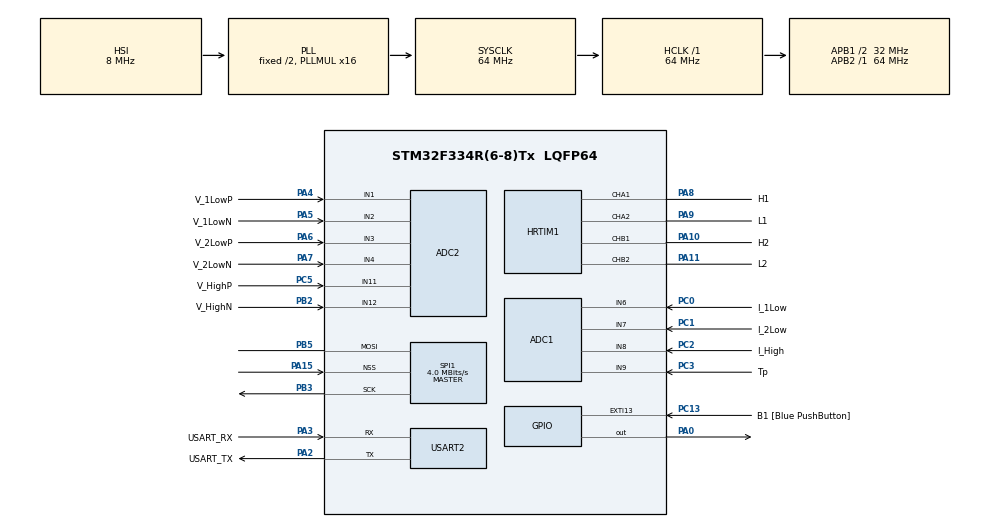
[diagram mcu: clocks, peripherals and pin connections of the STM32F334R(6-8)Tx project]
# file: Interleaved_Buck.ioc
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ADC1.Channel-0\#ChannelRegularConversion=ADC_CHANNEL_6
ADC1.Channel-1\#ChannelRegularConversion=ADC_CHANNEL_7
ADC1.Channel-2\#ChannelRegularConversion=ADC_CHANNEL_8
ADC1.Channel-3\#ChannelRegularConversion=ADC_CHANNEL_9
ADC1.NbrOfConversion=4
ADC1.NbrOfConversionFlag=1
ADC1.Offset-0\#ChannelRegularConversion=0
ADC1.Offset-1\#ChannelRegularConversion=0
ADC1.Offset-2\#ChannelRegularConversion=0
ADC1.Offset-3\#ChannelRegularConversion=0
ADC1.OffsetNumber-0\#ChannelRegularConversion=ADC_OFFSET_NONE
ADC1.OffsetNumber-1\#ChannelRegularConversion=ADC_OFFSET_NONE
ADC1.OffsetNumber-2\#ChannelRegularConversion=ADC_OFFSET_NONE
ADC1.OffsetNumber-3\#ChannelRegularConversion=ADC_OFFSET_NONE
ADC1.Rank-0\#ChannelRegularConversion=1
ADC1.Rank-1\#ChannelRegularConversion=2
ADC1.Rank-2\#ChannelRegularConversion=3
ADC1.Rank-3\#ChannelRegularConversion=4
ADC1.SamplingTime-0\#ChannelRegularConversion=ADC_SAMPLETIME_1CYCLE_5
ADC1.SamplingTime-1\#ChannelRegularConversion=ADC_SAMPLETIME_1CYCLE_5
ADC1.SamplingTime-2\#ChannelRegularConversion=ADC_SAMPLETIME_1CYCLE_5
ADC1.SamplingTime-3\#ChannelRegularConversion=ADC_SAMPLETIME_1CYCLE_5
ADC1.SamplingTimeOPAMP-1\#ChannelRegularConversion=ADC_SAMPLETIME_61CYCLES_5
ADC1.SamplingTimeOPAMP-2\#ChannelRegularConversion=ADC_SAMPLETIME_61CYCLES_5
ADC1.SamplingTimeOPAMP-3\#ChannelRegularConversion=ADC_SAMPLETIME_61CYCLES_5
ADC1.SubFamily=STM32F334x8
ADC1.master=1
ADC2.Channel-0\#ChannelRegularConversion=ADC_CHANNEL_1
ADC2.Channel-1\#ChannelRegularConversion=ADC_CHANNEL_3
ADC2.Channel-2\#ChannelRegularConversion=ADC_CHANNEL_11
ADC2.NbrOfConversion=3
ADC2.NbrOfConversionFlag=1
ADC2.Offset-0\#ChannelRegularConversion=0
ADC2.Offset-1\#ChannelRegularConversion=0
ADC2.Offset-2\#ChannelRegularConversion=0
ADC2.OffsetNumber-0\#ChannelRegularConversion=ADC_OFFSET_NONE
ADC2.OffsetNumber-1\#ChannelRegularConversion=ADC_OFFSET_NONE
ADC2.OffsetNumber-2\#ChannelRegularConversion=ADC_OFFSET_NONE
ADC2.Rank-0\#ChannelRegularConversion=1
ADC2.Rank-1\#ChannelRegularConversion=2
ADC2.Rank-2\#ChannelRegularConversion=3
ADC2.SamplingTime-0\#ChannelRegularConversion=ADC_SAMPLETIME_1CYCLE_5
ADC2.SamplingTime-1\#ChannelRegularConversion=ADC_SAMPLETIME_1CYCLE_5
ADC2.SamplingTime-2\#ChannelRegularConversion=ADC_SAMPLETIME_1CYCLE_5
ADC2.SamplingTimeOPAMP-1\#ChannelRegularConversion=ADC_SAMPLETIME_61CYCLES_5
ADC2.SamplingTimeOPAMP-2\#ChannelRegularConversion=ADC_SAMPLETIME_61CYCLES_5
ADC2.SingleDiff-0\#ChannelRegularConversion=ADC_DIFFERENTIAL_ENDED
ADC2.SingleDiff-1\#ChannelRegularConversion=ADC_DIFFERENTIAL_ENDED
ADC2.SingleDiff-2\#ChannelRegularConversion=ADC_DIFFERENTIAL_ENDED
ADC2.SubFamily=STM32F334x8
Dma.ADC1.0.Direction=DMA_PERIPH_TO_MEMORY
Dma.ADC1.0.Instance=DMA1_Channel1
Dma.ADC1.0.MemDataAlignment=DMA_MDATAALIGN_WORD
Dma.ADC1.0.MemInc=DMA_MINC_ENABLE
Dma.ADC1.0.Mode=DMA_CIRCULAR
Dma.ADC1.0.PeriphDataAlignment=DMA_PDATAALIGN_WORD
Dma.ADC1.0.PeriphInc=DMA_PINC_DISABLE
Dma.ADC1.0.Priority=DMA_PRIORITY_LOW
Dma.ADC2.1.Direction=DMA_PERIPH_TO_MEMORY
Dma.ADC2.1.Instance=DMA1_Channel2
Dma.ADC2.1.MemDataAlignment=DMA_MDATAALIGN_WORD
Dma.ADC2.1.MemInc=DMA_MINC_ENABLE
Dma.ADC2.1.Mode=DMA_CIRCULAR
Dma.ADC2.1.PeriphDataAlignment=DMA_PDATAALIGN_WORD
Dma.ADC2.1.PeriphInc=DMA_PINC_DISABLE
Dma.ADC2.1.Priority=DMA_PRIORITY_LOW
Dma.Request0=ADC1
Dma.Request1=ADC2
HRTIM1.CompareUnit1-MasterTimer=__NULL
HRTIM1.CompareUnit1-Output_TA1TA2=HRTIM_COMPAREUNIT_1
HRTIM1.CompareUnit1-Output_TB1TB2=HRTIM_COMPAREUNIT_1
HRTIM1.CompareUnit2-MasterTimer=HRTIM_COMPAREUNIT_2
HRTIM1.CompareUnit2-Output_TB1TB2=__NULL
HRTIM1.CompareUnit3-MasterTimer=__NULL
HRTIM1.CompareUnit3-Output_TB1TB2=__NULL
HRTIM1.CompareValue1-MasterTimer=80
HRTIM1.CompareValue1-Output_TA1TA2=dutyA
HRTIM1.CompareValue1-Output_TB1TB2=80
HRTIM1.CompareValue2-MasterTimer=160
HRTIM1.CompareValue2-Output_TB1TB2=80
HRTIM1.CompareValue3-MasterTimer=240
HRTIM1.CompareValue3-Output_TB1TB2=240
HRTIM1.Configuration_TB=Waveform
HRTIM1.DMADstAddress-Output_TA1TA2=0x0
HRTIM1.DMADstAddress-Output_TB1TB2=0x0
HRTIM1.DMARequests1-Output_TA1TA2=HRTIM_TIM_DMA_NONE
HRTIM1.DMARequests1-Output_TB1TB2=HRTIM_TIM_DMA_NONE
HRTIM1.DMASrcAddress-Output_TA1TA2=0x0
HRTIM1.DMASrcAddress-Output_TB1TB2=0x0
HRTIM1.DeadTimeInsertion-Output_TA1TA2=HRTIM_TIMDEADTIMEINSERTION_ENABLED
HRTIM1.DeadTimeInsertion-Output_TB1TB2=HRTIM_TIMDEADTIMEINSERTION_ENABLED
HRTIM1.Deadtimeconfig-Output_TA1TA2=HRTIM_TIMERINDEX_TIMER_A
HRTIM1.Deadtimeconfig-Output_TB1TB2=HRTIM_TIMERINDEX_TIMER_B
HRTIM1.FallingValue-Output_TA1TA2=10
HRTIM1.FallingValue-Output_TB1TB2=10
HRTIM1.NumberDMARequests_TA=0
HRTIM1.NumberDMARequests_TB=0
HRTIM1.NumberResetSource1-Output_TA1TA2=1
HRTIM1.NumberResetSource1-Output_TB1TB2=1
HRTIM1.NumberResetSource2_TA=1
HRTIM1.NumberResetSource2_TB=1
HRTIM1.NumberResetTrigger-Output_TA1TA2=1
HRTIM1.NumberResetTrigger-Output_TB1TB2=1
HRTIM1.NumberSetSource1-Output_TA1TA2=1
HRTIM1.NumberSetSource1-Output_TB1TB2=1
HRTIM1.NumberSetSource2_TA=0
HRTIM1.NumberSetSource2_TB=0
HRTIM1.NumberUpdateTrigger-Output_TA1TA2=0
HRTIM1.NumberUpdateTrigger-Output_TB1TB2=0
HRTIM1.Periode_MASTER=320
HRTIM1.Periode_TA=320
HRTIM1.Periode_TB=320
HRTIM1.Polarity2-Output_TA1TA2=HRTIM_OUTPUTPOLARITY_HIGH
HRTIM1.Polarity2-Output_TB1TB2=HRTIM_OUTPUTPOLARITY_HIGH
HRTIM1.PreloadEnable-Output_TA1TA2=HRTIM_PRELOAD_ENABLED
HRTIM1.PreloadEnable-Output_TB1TB2=HRTIM_PRELOAD_ENABLED
HRTIM1.PushPull-Output_TA1TA2=HRTIM_TIMPUSHPULLMODE_DISABLED
HRTIM1.PushPull-Output_TB1TB2=HRTIM_TIMPUSHPULLMODE_DISABLED
HRTIM1.RepetitionUpdate-Output_TA1TA2=HRTIM_UPDATEONREPETITION_ENABLED
HRTIM1.RepetitionUpdate-Output_TB1TB2=HRTIM_UPDATEONREPETITION_ENABLED
HRTIM1.ResetOutput1_Source1-Output_TA1TA2=HRTIM_OUTPUTRESET_TIMPER
HRTIM1.ResetOutput1_Source1-Output_TB1TB2=HRTIM_OUTPUTRESET_TIMPER
HRTIM1.ResetOutput2_Source1-Output_TA1TA2=HRTIM_OUTPUTRESET_TIMCMP1
HRTIM1.ResetOutput2_Source1-Output_TB1TB2=HRTIM_OUTPUTRESET_TIMCMP1
HRTIM1.ResetTrigger1-Output_TA1TA2=HRTIM_TIMRESETTRIGGER_MASTER_PER
HRTIM1.ResetTrigger1-Output_TB1TB2=HRTIM_TIMRESETTRIGGER_MASTER_CMP2
HRTIM1.RisingValue-Output_TA1TA2=10
HRTIM1.RisingValue-Output_TB1TB2=10
HRTIM1.SetOutput1_Source1-Output_TA1TA2=HRTIM_OUTPUTSET_TIMCMP1
HRTIM1.SetOutput1_Source1-Output_TB1TB2=HRTIM_OUTPUTSET_TIMCMP1
HRTIM1.SetOutput2_Source1-Output_TA1TA2=HRTIM_OUTPUTSET_TIMPER
HRTIM1.SetOutput2_Source1-Output_TB1TB2=HRTIM_OUTPUTSET_TIMPER
HRTIM1.StartOnSync-MasterTimer=HRTIM_SYNCSTART_DISABLED
HRTIM1.StartOnSync-Output_TA1TA2=HRTIM_SYNCSTART_DISABLED
HRTIM1.SyncOptions=HRTIM_SYNCOPTION_NONE
HRTIM1.UpdateTrigger1-Output_TA1TA2=HRTIM_TIMUPDATETRIGGER_NONE
HRTIM1.UpdateTrigger1-Output_TB1TB2=HRTIM_TIMUPDATETRIGGER_NONE
Mcu.Family=STM32F3
Mcu.Name=STM32F334R(6-8)Tx
Mcu.Package=LQFP64
NVIC.DMA1_Channel1_IRQn=true\:0\:0\:false\:false\:true\:false\:true
NVIC.DMA1_Channel2_IRQn=true\:0\:0\:false\:false\:true\:false\:true
NVIC.PriorityGroup=NVIC_PRIORITYGROUP_0
PA0.Signal=GPIO_Output
PA10.GPIO_Label=H2
PA10.Mode=Output_TB1TB2
PA10.Signal=HRTIM1_CHB1
PA11.GPIO_Label=L2
PA11.Mode=Output_TB1TB2
PA11.Signal=HRTIM1_CHB2
PA13.GPIO_Label=TMS
PA13.Mode=Serial_Wire
PA13.Signal=SYS_JTMS-SWDIO
PA14.GPIO_Label=TCK
PA14.Mode=Serial_Wire
PA14.Signal=SYS_JTCK-SWCLK
PA15.Mode=NSS_Signal_Hard_Input
PA15.Signal=SPI1_NSS
PA2.GPIO_Label=USART_TX
PA2.Mode=Asynchronous
PA2.Signal=USART2_TX
PA3.GPIO_Label=USART_RX
PA3.Mode=Asynchronous
PA3.Signal=USART2_RX
PA4.GPIO_Label=V_1LowP
PA4.Mode=IN1-Differential
PA4.Signal=ADC2_IN1
PA5.GPIO_Label=V_1LowN
PA5.Mode=IN1-Differential
PA5.Signal=ADC2_IN2
PA6.GPIO_Label=V_2LowP
PA6.Mode=IN3-Differential
PA6.Signal=ADC2_IN3
PA7.GPIO_Label=V_2LowN
PA7.Mode=IN3-Differential
PA7.Signal=ADC2_IN4
PA8.GPIO_Label=H1
PA8.Mode=Output_TA1TA2
PA8.Signal=HRTIM1_CHA1
PA9.GPIO_Label=L1
PA9.Mode=Output_TA1TA2
PA9.Signal=HRTIM1_CHA2
PB2.GPIO_Label=V_HighN
PB2.Mode=IN11-Differential
PB2.Signal=ADC2_IN12
PB3.Mode=Simplex_Bidirectional_Master
PB3.Signal=SPI1_SCK
PB5.Mode=Simplex_Bidirectional_Master
PB5.Signal=SPI1_MOSI
PC0.GPIO_Label=I_1Low
PC0.Signal=ADCx_IN6
PC1.GPIO_Label=I_2Low
PC1.Signal=ADCx_IN7
PC13.GPIO_Label=B1 [Blue PushButton]
PC13.GPIO_ModeDefaultEXTI=GPIO_MODE_IT_FALLING
PC13.Signal=GPXTI13
PC14\ /\ OSC32_IN.Mode=LSE-External-Oscillator
PC14\ /\ OSC32_IN.Signal=RCC_OSC32_IN
PC15\ /\ OSC32_OUT.GPIO_Label=RCC_OSC32_OUT
PC15\ /\ OSC32_OUT.Mode=LSE-External-Oscillator
PC15\ /\ OSC32_OUT.Signal=RCC_OSC32_OUT
PC2.GPIO_Label=I_High
PC2.Signal=ADCx_IN8
PC3.GPIO_Label=Tp
PC3.Signal=ADCx_IN9
PC5.GPIO_Label=V_HighP
PC5.Mode=IN11-Differential
PC5.Signal=ADC2_IN11
PF0\ /\ OSC_IN.Mode=HSE-External-Clock-Source
PF0\ /\ OSC_IN.Signal=RCC_OSC_IN
PF1\ /\ OSC_OUT.Signal=RCC_OSC_OUT
ProjectManager.HeapSize=0x200
ProjectManager.StackSize=0x400
ProjectManager.TargetToolchain=STM32CubeIDE
RCC.AHBFreq_Value=64000000
RCC.APB1CLKDivider=RCC_HCLK_DIV2
RCC.APB1Freq_Value=32000000
RCC.APB1TimFreq_Value=64000000
RCC.APB2Freq_Value=64000000
RCC.APB2TimFreq_Value=64000000
RCC.CortexFreq_Value=64000000
RCC.FLatency-AdvancedSettings=FLASH_LATENCY_2
RCC.HCLKFreq_Value=64000000
RCC.HSE_VALUE=8000000
RCC.HSI_VALUE=8000000
RCC.PLLMUL=RCC_PLL_MUL16
RCC.SYSCLKFreq_VALUE=64000000
RCC.SYSCLKSourceVirtual=RCC_SYSCLKSOURCE_PLLCLK
SH.ADCx_IN6.0=ADC1_IN6,IN6-Single-Ended
SH.ADCx_IN7.0=ADC1_IN7,IN7-Single-Ended
SH.ADCx_IN8.0=ADC1_IN8,IN8-Single-Ended
SH.ADCx_IN9.0=ADC1_IN9,IN9-Single-Ended
SPI1.BaudRatePrescaler=SPI_BAUDRATEPRESCALER_16
SPI1.CalculateBaudRate=4.0 MBits/s
SPI1.Direction=SPI_DIRECTION_1LINE
SPI1.Mode=SPI_MODE_MASTER
SPI1.VirtualNSS=VM_NSSHARD
SPI1.VirtualType=VM_MASTER
USART2.VirtualMode-Asynchronous=VM_ASYNC
VP_HRTIM1_VS_hrtimMasterTimerNoOutput.Mode=MasterTimer
board=NUCLEO-F334R8

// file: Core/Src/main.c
/* USER CODE BEGIN Header */
/**
  ******************************************************************************
  * @file           : main.c
  * @brief          : Main program body
  ******************************************************************************
  * @attention
  *
  * <h2><center>&copy; Copyright (c) 2020 STMicroelectronics.
  * All rights reserved.</center></h2>
  *
  * This software component is licensed by ST under BSD 3-Clause license,
  * the "License"; You may not use this file except in compliance with the
  * License. You may obtain a copy of the License at:
  *                        opensource.org/licenses/BSD-3-Clause
  *
  ******************************************************************************
  */
#define ARM_MATH_CM4

/* USER CODE END Header */
#include "main.h"

/* USER CODE BEGIN Includes */
#include "arm_math.h"

/* USER CODE END Includes */

/* USER CODE BEGIN PTD */
typedef struct {
	float32_t I1_Low;
	float32_t I2_Low;
	float32_t I_High;
	float32_t Tp;
} ADC_SingleEnded;

typedef struct {
	float32_t gain_I1;
	float32_t gain_I2;
	float32_t gain_IHigh;
	float32_t gain_Tp;
} gain_ADC1;

typedef struct {
	float32_t V1_Low;
	float32_t V2_Low;
	float32_t V_High;
} ADC_Differential;

typedef struct {
	float32_t gain_V1;
	float32_t gain_V2;
	float32_t gain_VHigh;
} gain_ADC2;

/* USER CODE END PTD */

/* USER CODE BEGIN PD */
#define GAIN_CURRENT_SENSOR  0.0009766       //  [(raw_value/4096)*3.3V * (40A/3.3V)] * 1.000.000
#define GAIN_AC_VOLTAGE  515625
#define GAIN_DC_VOLTAGE	 96680
// #define GAIN_TP =
#define DIVIDE1M 1000000
#define PWM_RESOLUTION 320
#define LOW_DUTY 32
#define HIGH_DUTY 288
/* USER CODE END PD */

ADC_HandleTypeDef hadc1;
ADC_HandleTypeDef hadc2;
DMA_HandleTypeDef hdma_adc1;
DMA_HandleTypeDef hdma_adc2;

HRTIM_HandleTypeDef hhrtim1;

SPI_HandleTypeDef hspi1;

UART_HandleTypeDef huart2;

/* USER CODE BEGIN PV */
float32_t ref = 15;
float32_t error_pid;
float32_t rslt_pid;
float32_t Kpgain = -0.00000235;		//PID Gains are determined through a simulink simulation of the system.
float32_t Kigain = -0.117;
float32_t Kdgain = 0;
uint32_t valuesADC1[4];
float32_t convertADC1[4];
uint32_t valuesADC2[3];
float32_t convertADC2[3];
float32_t raw_offsetADC1[4];
float32_t raw_offsetADC2[3];
arm_pid_instance_f32 PID_test;
float32_t ValuesADC1[4];
float32_t ValuesADC2[3];
float32_t GainADC1[4];
float32_t GainADC2[3];
float32_t offsetADC1[4] = {1460, 1650, 1700, 0};
float32_t offsetADC2[3] = {1990, 1980, 1980};
uint16_t duty= 80;
float32_t pwm=32;

/* USER CODE END PV */

void SystemClock_Config(void);
static void MX_GPIO_Init(void);
static void MX_DMA_Init(void);
static void MX_USART2_UART_Init(void);
static void MX_ADC1_Init(void);
static void MX_ADC2_Init(void);
static void MX_HRTIM1_Init(void);
static void MX_SPI1_Init(void);

int main(void)
{

  /* MCU Configuration--------------------------------------------------------*/

  /* Reset of all peripherals, Initializes the Flash interface and the Systick. */
  HAL_Init();

  /* Configure the system clock */
  SystemClock_Config();

  /* Initialize all configured peripherals */
  MX_GPIO_Init();
  MX_DMA_Init();
  MX_USART2_UART_Init();
  MX_ADC1_Init();
  MX_ADC2_Init();
  MX_HRTIM1_Init();
  MX_SPI1_Init();
  /* USER CODE BEGIN 2 */

  GainADC1[0] =0.009766;
  GainADC1[1] =0.009766;
  GainADC1[2] =-0.009766*2.794;
  GainADC1[3] =0.1*0.543;

  GainADC2[0] =-0.05156*1.2931;
  GainADC2[1] =-0.05156*1.2931;		//1.2931 is the experimental gain multiplier found during calibration. Theoritical values must be checked.
  GainADC2[2] =0.09668;

  PID_test.Kp=Kpgain;
  PID_test.Ki=Kigain;
  PID_test.Kd=Kdgain;
  arm_pid_init_f32(&PID_test,1);
  HAL_HRTIM_WaveformCountStart(&hhrtim1 , HRTIM_TIMERID_MASTER | HRTIM_TIMERID_TIMER_A | HRTIM_TIMERID_TIMER_B); //Launch simultaneously HRTIM Master timer, Timer A, and Timer B
  HAL_HRTIM_WaveformOutputStart(&hhrtim1 , HRTIM_OUTPUT_TA1 | HRTIM_OUTPUT_TA2 | HRTIM_OUTPUT_TB1 | HRTIM_OUTPUT_TB2); //Once timers launched, output are released simultaneously.
  HAL_HRTIM_UpdateEnable(&hhrtim1, HRTIM_TIMERUPDATE_A | HRTIM_TIMERUPDATE_B);
  HAL_GPIO_TogglePin(GPIOA, GPIO_PIN_0);  			//IMPORTANT GROUND TO NEUTRAL CONNECTION MUST BE ENABLED IN DCDC BUCK MODE !

  /* USER CODE END 2 */

  /* Infinite loop */
  /* USER CODE BEGIN WHILE */
  while (1)
  {
	  HAL_ADC_Start_DMA(&hadc1, valuesADC1, 4);
	  HAL_ADC_Stop_DMA(&hadc1);
	  HAL_ADC_Start_DMA(&hadc2, valuesADC2, 3);
	  HAL_ADC_Stop_DMA(&hadc2);
	  convertADC1[0] = (float32_t)valuesADC1[0];
	  convertADC1[1] = (float32_t)valuesADC1[1];
	  convertADC1[2] = (float32_t)valuesADC1[2];
	  convertADC1[3] = (float32_t)valuesADC1[3];
	  convertADC2[0] = (float32_t)valuesADC2[0];
	  convertADC2[1] = (float32_t)valuesADC2[1];
	  convertADC2[2] = (float32_t)valuesADC2[2];
	  arm_sub_f32(convertADC1, offsetADC1, raw_offsetADC1, 4);
	  arm_sub_f32(convertADC2, offsetADC2, raw_offsetADC2, 3);
	  arm_mult_f32(raw_offsetADC1, GainADC1, ValuesADC1, 4);
	  arm_mult_f32(raw_offsetADC2, GainADC2, ValuesADC2, 3);
	  arm_sub_f32(&ref, &ValuesADC2[0], &error_pid,1);			//CALCULATING THE ERROR BASED ON THE REFERENCE
	  rslt_pid = arm_pid_f32(&PID_test, 0.01*error_pid);		//PID CALCULATIONS
	  pwm = PWM_RESOLUTION*rslt_pid;							//PID OUTPUT CONDITIONNING

	  if (pwm > HIGH_DUTY)										//SATURATION CONDITIONS TO AVOID DIVERGENCE.
	  {
		  duty = HIGH_DUTY;
		  __HAL_HRTIM_SETCOMPARE(&hhrtim1, 0X0, HRTIM_COMPAREUNIT_1, duty);
		  __HAL_HRTIM_SETCOMPARE(&hhrtim1, 0X1, HRTIM_COMPAREUNIT_1, duty);
	  }
	  else if (pwm < LOW_DUTY)
	  {
		  duty = LOW_DUTY;
		  __HAL_HRTIM_SETCOMPARE(&hhrtim1, 0X0, HRTIM_COMPAREUNIT_1, duty);
		  __HAL_HRTIM_SETCOMPARE(&hhrtim1, 0X1, HRTIM_COMPAREUNIT_1, duty);
	  }
	  else
	  {
		  duty = (uint16_t)pwm;
		  __HAL_HRTIM_SETCOMPARE(&hhrtim1, 0X0, HRTIM_COMPAREUNIT_1, duty);
		  __HAL_HRTIM_SETCOMPARE(&hhrtim1, 0X1, HRTIM_COMPAREUNIT_1, duty);
	  }

//	HAL_HRTIM_SoftwareUpdate(&hhrtim1, HRTIM_TIMERUPDATE_A | HRTIM_TIMERUPDATE_B);

    /* USER CODE END WHILE */

  }
}

void SystemClock_Config(void)
{
  RCC_OscInitTypeDef RCC_OscInitStruct = {0};
  RCC_ClkInitTypeDef RCC_ClkInitStruct = {0};
  RCC_PeriphCLKInitTypeDef PeriphClkInit = {0};

  /** Initializes the RCC Oscillators according to the specified parameters
  * in the RCC_OscInitTypeDef structure.
  */
  RCC_OscInitStruct.OscillatorType = RCC_OSCILLATORTYPE_HSI;
  RCC_OscInitStruct.HSIState = RCC_HSI_ON;
  RCC_OscInitStruct.HSICalibrationValue = RCC_HSICALIBRATION_DEFAULT;
  RCC_OscInitStruct.PLL.PLLState = RCC_PLL_ON;
  RCC_OscInitStruct.PLL.PLLSource = RCC_PLLSOURCE_HSI;
  RCC_OscInitStruct.PLL.PLLMUL = RCC_PLL_MUL16;
  if (HAL_RCC_OscConfig(&RCC_OscInitStruct) != HAL_OK)
  {
    Error_Handler();
  }
  /** Initializes the CPU, AHB and APB buses clocks
  */
  RCC_ClkInitStruct.ClockType = RCC_CLOCKTYPE_HCLK|RCC_CLOCKTYPE_SYSCLK
                              |RCC_CLOCKTYPE_PCLK1|RCC_CLOCKTYPE_PCLK2;
  RCC_ClkInitStruct.SYSCLKSource = RCC_SYSCLKSOURCE_PLLCLK;
  RCC_ClkInitStruct.AHBCLKDivider = RCC_SYSCLK_DIV1;
  RCC_ClkInitStruct.APB1CLKDivider = RCC_HCLK_DIV2;
  RCC_ClkInitStruct.APB2CLKDivider = RCC_HCLK_DIV1;

  if (HAL_RCC_ClockConfig(&RCC_ClkInitStruct, FLASH_LATENCY_2) != HAL_OK)
  {
    Error_Handler();
  }
  PeriphClkInit.PeriphClockSelection = RCC_PERIPHCLK_HRTIM1|RCC_PERIPHCLK_ADC12;
  PeriphClkInit.Adc12ClockSelection = RCC_ADC12PLLCLK_DIV1;
  PeriphClkInit.Hrtim1ClockSelection = RCC_HRTIM1CLK_HCLK;
  if (HAL_RCCEx_PeriphCLKConfig(&PeriphClkInit) != HAL_OK)
  {
    Error_Handler();
  }
}

static void MX_ADC1_Init(void)
{

  ADC_MultiModeTypeDef multimode = {0};
  ADC_ChannelConfTypeDef sConfig = {0};

  /** Common config
  */
  hadc1.Instance = ADC1;
  hadc1.Init.ClockPrescaler = ADC_CLOCK_ASYNC_DIV1;
  hadc1.Init.Resolution = ADC_RESOLUTION_12B;
  hadc1.Init.ScanConvMode = ADC_SCAN_ENABLE;
  hadc1.Init.ContinuousConvMode = DISABLE;
  hadc1.Init.DiscontinuousConvMode = DISABLE;
  hadc1.Init.ExternalTrigConvEdge = ADC_EXTERNALTRIGCONVEDGE_NONE;
  hadc1.Init.ExternalTrigConv = ADC_SOFTWARE_START;
  hadc1.Init.DataAlign = ADC_DATAALIGN_RIGHT;
  hadc1.Init.NbrOfConversion = 4;
  hadc1.Init.DMAContinuousRequests = DISABLE;
  hadc1.Init.EOCSelection = ADC_EOC_SINGLE_CONV;
  hadc1.Init.LowPowerAutoWait = DISABLE;
  hadc1.Init.Overrun = ADC_OVR_DATA_OVERWRITTEN;
  if (HAL_ADC_Init(&hadc1) != HAL_OK)
  {
    Error_Handler();
  }
  /** Configure the ADC multi-mode
  */
  multimode.Mode = ADC_MODE_INDEPENDENT;
  if (HAL_ADCEx_MultiModeConfigChannel(&hadc1, &multimode) != HAL_OK)
  {
    Error_Handler();
  }
  /** Configure Regular Channel
  */
  sConfig.Channel = ADC_CHANNEL_6;
  sConfig.Rank = ADC_REGULAR_RANK_1;
  sConfig.SingleDiff = ADC_SINGLE_ENDED;
  sConfig.SamplingTime = ADC_SAMPLETIME_1CYCLE_5;
  sConfig.OffsetNumber = ADC_OFFSET_NONE;
  sConfig.Offset = 0;
  if (HAL_ADC_ConfigChannel(&hadc1, &sConfig) != HAL_OK)
  {
    Error_Handler();
  }
  /** Configure Regular Channel
  */
  sConfig.Channel = ADC_CHANNEL_7;
  sConfig.Rank = ADC_REGULAR_RANK_2;
  if (HAL_ADC_ConfigChannel(&hadc1, &sConfig) != HAL_OK)
  {
    Error_Handler();
  }
  /** Configure Regular Channel
  */
  sConfig.Channel = ADC_CHANNEL_8;
  sConfig.Rank = ADC_REGULAR_RANK_3;
  if (HAL_ADC_ConfigChannel(&hadc1, &sConfig) != HAL_OK)
  {
    Error_Handler();
  }
  /** Configure Regular Channel
  */
  sConfig.Channel = ADC_CHANNEL_9;
  sConfig.Rank = ADC_REGULAR_RANK_4;
  if (HAL_ADC_ConfigChannel(&hadc1, &sConfig) != HAL_OK)
  {
    Error_Handler();
  }

}

static void MX_ADC2_Init(void)
{

  ADC_ChannelConfTypeDef sConfig = {0};

  /** Common config
  */
  hadc2.Instance = ADC2;
  hadc2.Init.ClockPrescaler = ADC_CLOCK_ASYNC_DIV1;
  hadc2.Init.Resolution = ADC_RESOLUTION_12B;
  hadc2.Init.ScanConvMode = ADC_SCAN_ENABLE;
  hadc2.Init.ContinuousConvMode = DISABLE;
  hadc2.Init.DiscontinuousConvMode = DISABLE;
  hadc2.Init.ExternalTrigConvEdge = ADC_EXTERNALTRIGCONVEDGE_NONE;
  hadc2.Init.ExternalTrigConv = ADC_SOFTWARE_START;
  hadc2.Init.DataAlign = ADC_DATAALIGN_RIGHT;
  hadc2.Init.NbrOfConversion = 3;
  hadc2.Init.DMAContinuousRequests = DISABLE;
  hadc2.Init.EOCSelection = ADC_EOC_SINGLE_CONV;
  hadc2.Init.LowPowerAutoWait = DISABLE;
  hadc2.Init.Overrun = ADC_OVR_DATA_OVERWRITTEN;
  if (HAL_ADC_Init(&hadc2) != HAL_OK)
  {
    Error_Handler();
  }
  /** Configure Regular Channel
  */
  sConfig.Channel = ADC_CHANNEL_1;
  sConfig.Rank = ADC_REGULAR_RANK_1;
  sConfig.SingleDiff = ADC_DIFFERENTIAL_ENDED;
  sConfig.SamplingTime = ADC_SAMPLETIME_1CYCLE_5;
  sConfig.OffsetNumber = ADC_OFFSET_NONE;
  sConfig.Offset = 0;
  if (HAL_ADC_ConfigChannel(&hadc2, &sConfig) != HAL_OK)
  {
    Error_Handler();
  }
  /** Configure Regular Channel
  */
  sConfig.Channel = ADC_CHANNEL_3;
  sConfig.Rank = ADC_REGULAR_RANK_2;
  if (HAL_ADC_ConfigChannel(&hadc2, &sConfig) != HAL_OK)
  {
    Error_Handler();
  }
  /** Configure Regular Channel
  */
  sConfig.Channel = ADC_CHANNEL_11;
  sConfig.Rank = ADC_REGULAR_RANK_3;
  if (HAL_ADC_ConfigChannel(&hadc2, &sConfig) != HAL_OK)
  {
    Error_Handler();
  }

}

static void MX_HRTIM1_Init(void)
{

  HRTIM_TimeBaseCfgTypeDef pTimeBaseCfg = {0};
  HRTIM_TimerCfgTypeDef pTimerCfg = {0};
  HRTIM_CompareCfgTypeDef pCompareCfg = {0};
  HRTIM_DeadTimeCfgTypeDef pDeadTimeCfg = {0};
  HRTIM_OutputCfgTypeDef pOutputCfg = {0};

  /* USER CODE BEGIN HRTIM1_Init 1 */

 //Define the duty cycle variable duty must be below comprised between 0 and 320 in the actual configuration.

  /* USER CODE END HRTIM1_Init 1 */
  hhrtim1.Instance = HRTIM1;
  hhrtim1.Init.HRTIMInterruptResquests = HRTIM_IT_NONE;
  hhrtim1.Init.SyncOptions = HRTIM_SYNCOPTION_NONE;
  if (HAL_HRTIM_Init(&hhrtim1) != HAL_OK)
  {
    Error_Handler();
  }
  pTimeBaseCfg.Period = 320;
  pTimeBaseCfg.RepetitionCounter = 0x00;
  pTimeBaseCfg.PrescalerRatio = HRTIM_PRESCALERRATIO_DIV1;
  pTimeBaseCfg.Mode = HRTIM_MODE_CONTINUOUS;
  if (HAL_HRTIM_TimeBaseConfig(&hhrtim1, HRTIM_TIMERINDEX_MASTER, &pTimeBaseCfg) != HAL_OK)
  {
    Error_Handler();
  }
  pTimerCfg.InterruptRequests = HRTIM_MASTER_IT_NONE;
  pTimerCfg.DMARequests = HRTIM_MASTER_DMA_NONE;
  pTimerCfg.DMASrcAddress = 0x0000;
  pTimerCfg.DMADstAddress = 0x0000;
  pTimerCfg.DMASize = 0x1;
  pTimerCfg.HalfModeEnable = HRTIM_HALFMODE_DISABLED;
  pTimerCfg.StartOnSync = HRTIM_SYNCSTART_DISABLED;
  pTimerCfg.ResetOnSync = HRTIM_SYNCRESET_DISABLED;
  pTimerCfg.DACSynchro = HRTIM_DACSYNC_NONE;
  pTimerCfg.PreloadEnable = HRTIM_PRELOAD_DISABLED;
  pTimerCfg.UpdateGating = HRTIM_UPDATEGATING_INDEPENDENT;
  pTimerCfg.BurstMode = HRTIM_TIMERBURSTMODE_MAINTAINCLOCK;
  pTimerCfg.RepetitionUpdate = HRTIM_UPDATEONREPETITION_DISABLED;
  if (HAL_HRTIM_WaveformTimerConfig(&hhrtim1, HRTIM_TIMERINDEX_MASTER, &pTimerCfg) != HAL_OK)
  {
    Error_Handler();
  }
  pCompareCfg.CompareValue = 160;
  if (HAL_HRTIM_WaveformCompareConfig(&hhrtim1, HRTIM_TIMERINDEX_MASTER, HRTIM_COMPAREUNIT_2, &pCompareCfg) != HAL_OK)
  {
    Error_Handler();
  }
  if (HAL_HRTIM_TimeBaseConfig(&hhrtim1, HRTIM_TIMERINDEX_TIMER_A, &pTimeBaseCfg) != HAL_OK)
  {
    Error_Handler();
  }
  pTimerCfg.InterruptRequests = HRTIM_TIM_IT_NONE;
  pTimerCfg.DMARequests = HRTIM_TIM_DMA_NONE;
  pTimerCfg.DMASrcAddress = 0x0;
  pTimerCfg.DMADstAddress = 0x0;
  pTimerCfg.DMASize = 0x1;
  pTimerCfg.PreloadEnable = HRTIM_PRELOAD_ENABLED;
  pTimerCfg.RepetitionUpdate = HRTIM_UPDATEONREPETITION_ENABLED;
  pTimerCfg.PushPull = HRTIM_TIMPUSHPULLMODE_DISABLED;
  pTimerCfg.FaultEnable = HRTIM_TIMFAULTENABLE_NONE;
  pTimerCfg.FaultLock = HRTIM_TIMFAULTLOCK_READWRITE;
  pTimerCfg.DeadTimeInsertion = HRTIM_TIMDEADTIMEINSERTION_ENABLED;
  pTimerCfg.DelayedProtectionMode = HRTIM_TIMER_A_B_C_DELAYEDPROTECTION_DISABLED;
  pTimerCfg.UpdateTrigger = HRTIM_TIMUPDATETRIGGER_NONE;
  pTimerCfg.ResetTrigger = HRTIM_TIMRESETTRIGGER_MASTER_PER;
  pTimerCfg.ResetUpdate = HRTIM_TIMUPDATEONRESET_DISABLED;
  if (HAL_HRTIM_WaveformTimerConfig(&hhrtim1, HRTIM_TIMERINDEX_TIMER_A, &pTimerCfg) != HAL_OK)
  {
    Error_Handler();
  }
  pTimerCfg.DMASrcAddress = 0x0;
  pTimerCfg.DMADstAddress = 0x0;
  pTimerCfg.DMASize = 0x1;
  pTimerCfg.ResetTrigger = HRTIM_TIMRESETTRIGGER_MASTER_CMP2;
  if (HAL_HRTIM_WaveformTimerConfig(&hhrtim1, HRTIM_TIMERINDEX_TIMER_B, &pTimerCfg) != HAL_OK)
  {
    Error_Handler();
  }
  pCompareCfg.CompareValue = duty;
  if (HAL_HRTIM_WaveformCompareConfig(&hhrtim1, HRTIM_TIMERINDEX_TIMER_A, HRTIM_COMPAREUNIT_1, &pCompareCfg) != HAL_OK)
  {
    Error_Handler();
  }
  pDeadTimeCfg.Prescaler = HRTIM_TIMDEADTIME_PRESCALERRATIO_MUL8;
  pDeadTimeCfg.RisingValue = 10;
  pDeadTimeCfg.RisingSign = HRTIM_TIMDEADTIME_RISINGSIGN_POSITIVE;
  pDeadTimeCfg.RisingLock = HRTIM_TIMDEADTIME_RISINGLOCK_WRITE;
  pDeadTimeCfg.RisingSignLock = HRTIM_TIMDEADTIME_RISINGSIGNLOCK_WRITE;
  pDeadTimeCfg.FallingValue = 10;
  pDeadTimeCfg.FallingSign = HRTIM_TIMDEADTIME_FALLINGSIGN_POSITIVE;
  pDeadTimeCfg.FallingLock = HRTIM_TIMDEADTIME_FALLINGLOCK_WRITE;
  pDeadTimeCfg.FallingSignLock = HRTIM_TIMDEADTIME_FALLINGSIGNLOCK_WRITE;
  if (HAL_HRTIM_DeadTimeConfig(&hhrtim1, HRTIM_TIMERINDEX_TIMER_A, &pDeadTimeCfg) != HAL_OK)
  {
    Error_Handler();
  }
  if (HAL_HRTIM_DeadTimeConfig(&hhrtim1, HRTIM_TIMERINDEX_TIMER_B, &pDeadTimeCfg) != HAL_OK)
  {
    Error_Handler();
  }
  pOutputCfg.Polarity = HRTIM_OUTPUTPOLARITY_HIGH;
  pOutputCfg.SetSource = HRTIM_OUTPUTSET_TIMCMP1;
  pOutputCfg.ResetSource = HRTIM_OUTPUTRESET_TIMPER;
  pOutputCfg.IdleMode = HRTIM_OUTPUTIDLEMODE_NONE;
  pOutputCfg.IdleLevel = HRTIM_OUTPUTIDLELEVEL_INACTIVE;
  pOutputCfg.FaultLevel = HRTIM_OUTPUTFAULTLEVEL_NONE;
  pOutputCfg.ChopperModeEnable = HRTIM_OUTPUTCHOPPERMODE_DISABLED;
  pOutputCfg.BurstModeEntryDelayed = HRTIM_OUTPUTBURSTMODEENTRY_REGULAR;
  if (HAL_HRTIM_WaveformOutputConfig(&hhrtim1, HRTIM_TIMERINDEX_TIMER_A, HRTIM_OUTPUT_TA1, &pOutputCfg) != HAL_OK)
  {
    Error_Handler();
  }
  if (HAL_HRTIM_WaveformOutputConfig(&hhrtim1, HRTIM_TIMERINDEX_TIMER_B, HRTIM_OUTPUT_TB1, &pOutputCfg) != HAL_OK)
  {
    Error_Handler();
  }
  pOutputCfg.SetSource = HRTIM_OUTPUTSET_NONE;
  pOutputCfg.ResetSource = HRTIM_OUTPUTRESET_TIMCMP1;
  if (HAL_HRTIM_WaveformOutputConfig(&hhrtim1, HRTIM_TIMERINDEX_TIMER_A, HRTIM_OUTPUT_TA2, &pOutputCfg) != HAL_OK)
  {
    Error_Handler();
  }
  if (HAL_HRTIM_WaveformOutputConfig(&hhrtim1, HRTIM_TIMERINDEX_TIMER_B, HRTIM_OUTPUT_TB2, &pOutputCfg) != HAL_OK)
  {
    Error_Handler();
  }
  if (HAL_HRTIM_TimeBaseConfig(&hhrtim1, HRTIM_TIMERINDEX_TIMER_B, &pTimeBaseCfg) != HAL_OK)
  {
    Error_Handler();
  }
  pCompareCfg.CompareValue = 80;
  if (HAL_HRTIM_WaveformCompareConfig(&hhrtim1, HRTIM_TIMERINDEX_TIMER_B, HRTIM_COMPAREUNIT_1, &pCompareCfg) != HAL_OK)
  {
    Error_Handler();
  }
  HAL_HRTIM_MspPostInit(&hhrtim1);

}

static void MX_SPI1_Init(void)
{

  /* SPI1 parameter configuration*/
  hspi1.Instance = SPI1;
  hspi1.Init.Mode = SPI_MODE_MASTER;
  hspi1.Init.Direction = SPI_DIRECTION_1LINE;
  hspi1.Init.DataSize = SPI_DATASIZE_4BIT;
  hspi1.Init.CLKPolarity = SPI_POLARITY_LOW;
  hspi1.Init.CLKPhase = SPI_PHASE_1EDGE;
  hspi1.Init.NSS = SPI_NSS_HARD_INPUT;
  hspi1.Init.BaudRatePrescaler = SPI_BAUDRATEPRESCALER_16;
  hspi1.Init.FirstBit = SPI_FIRSTBIT_MSB;
  hspi1.Init.TIMode = SPI_TIMODE_DISABLE;
  hspi1.Init.CRCCalculation = SPI_CRCCALCULATION_DISABLE;
  hspi1.Init.CRCPolynomial = 7;
  hspi1.Init.CRCLength = SPI_CRC_LENGTH_DATASIZE;
  hspi1.Init.NSSPMode = SPI_NSS_PULSE_ENABLE;
  if (HAL_SPI_Init(&hspi1) != HAL_OK)
  {
    Error_Handler();
  }

}

static void MX_USART2_UART_Init(void)
{

  huart2.Instance = USART2;
  huart2.Init.BaudRate = 38400;
  huart2.Init.WordLength = UART_WORDLENGTH_8B;
  huart2.Init.StopBits = UART_STOPBITS_1;
  huart2.Init.Parity = UART_PARITY_NONE;
  huart2.Init.Mode = UART_MODE_TX_RX;
  huart2.Init.HwFlowCtl = UART_HWCONTROL_NONE;
  huart2.Init.OverSampling = UART_OVERSAMPLING_16;
  huart2.Init.OneBitSampling = UART_ONE_BIT_SAMPLE_DISABLE;
  huart2.AdvancedInit.AdvFeatureInit = UART_ADVFEATURE_NO_INIT;
  if (HAL_UART_Init(&huart2) != HAL_OK)
  {
    Error_Handler();
  }

}

static void MX_DMA_Init(void)
{

  /* DMA controller clock enable */
  __HAL_RCC_DMA1_CLK_ENABLE();

  /* DMA interrupt init */
  /* DMA1_Channel1_IRQn interrupt configuration */
  HAL_NVIC_SetPriority(DMA1_Channel1_IRQn, 0, 0);
  HAL_NVIC_EnableIRQ(DMA1_Channel1_IRQn);
  /* DMA1_Channel2_IRQn interrupt configuration */
  HAL_NVIC_SetPriority(DMA1_Channel2_IRQn, 0, 0);
  HAL_NVIC_EnableIRQ(DMA1_Channel2_IRQn);

}

static void MX_GPIO_Init(void)
{
  GPIO_InitTypeDef GPIO_InitStruct = {0};

  /* GPIO Ports Clock Enable */
  __HAL_RCC_GPIOC_CLK_ENABLE();
  __HAL_RCC_GPIOF_CLK_ENABLE();
  __HAL_RCC_GPIOA_CLK_ENABLE();
  __HAL_RCC_GPIOB_CLK_ENABLE();

  /*Configure GPIO pin Output Level */
  HAL_GPIO_WritePin(GPIOA, GPIO_PIN_0, GPIO_PIN_RESET);

  /*Configure GPIO pin : B1_Pin */
  GPIO_InitStruct.Pin = B1_Pin;
  GPIO_InitStruct.Mode = GPIO_MODE_IT_FALLING;
  GPIO_InitStruct.Pull = GPIO_NOPULL;
  HAL_GPIO_Init(B1_GPIO_Port, &GPIO_InitStruct);

  /*Configure GPIO pin : PA0 */
  GPIO_InitStruct.Pin = GPIO_PIN_0;
  GPIO_InitStruct.Mode = GPIO_MODE_OUTPUT_PP;
  GPIO_InitStruct.Pull = GPIO_NOPULL;
  GPIO_InitStruct.Speed = GPIO_SPEED_FREQ_LOW;
  HAL_GPIO_Init(GPIOA, &GPIO_InitStruct);

}

void Error_Handler(void)
{
}

/************************ (C) COPYRIGHT STMicroelectronics *****END OF FILE****/
